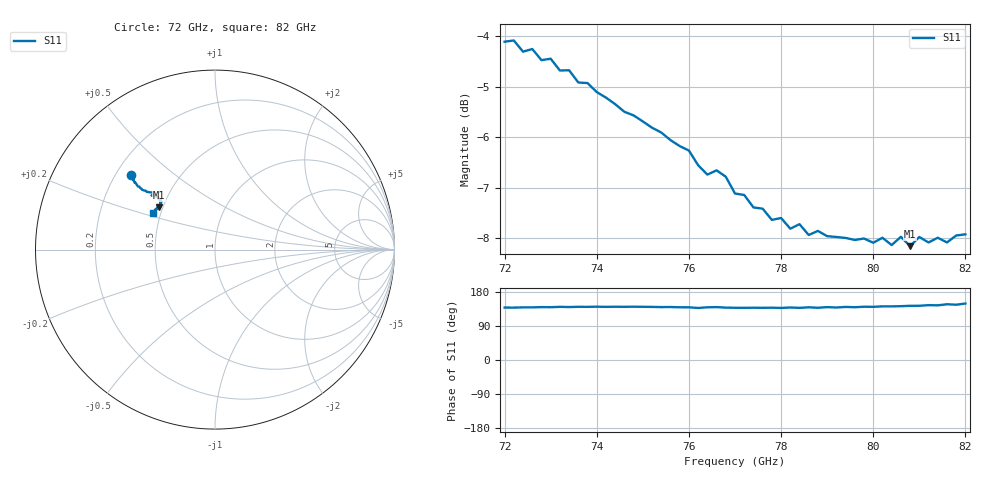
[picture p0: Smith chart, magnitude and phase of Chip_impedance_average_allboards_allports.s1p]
# GHZ S DB R 50.0
! Port[1] =
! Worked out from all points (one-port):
!   51 points, 72 GHz to 82 GHz, reference 50 ohm
!   lowest |S11| = -8.2 dB at 80.8 GHz (marker M1), VSWR 2.28, Z = 23.8 + j13.2 ohm
!   |S11| at or under -10 dB: nowhere
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72  -4.11 138.3
72.6  -4.25 138.8
72.8  -4.48 139.6
73  -4.45 139.4
73.2  -4.68 140.2
73.4  -4.68 139.8
73.6  -4.92 140.3
74.6  -5.50 140.3
75.8  -6.18 139.1
76  -6.26 139.0
76.2  -6.56 137.3
76.4  -6.74 139.1
76.6  -6.66 139.6
77  -7.11 137.8
78  -7.60 137.4
78.2  -7.81 138.5
78.4  -7.72 137.6
78.6  -7.94 139.0
78.8  -7.85 137.8
79  -7.96 139.5
79.6  -8.03 139.3
80.4  -8.14 141.4
80.6  -7.97 142.0
80.8  -8.16 143.0
81.4  -7.99 144.2
81.6  -8.08 147.1
81.8  -7.95 145.9
82  -7.92 149.0
